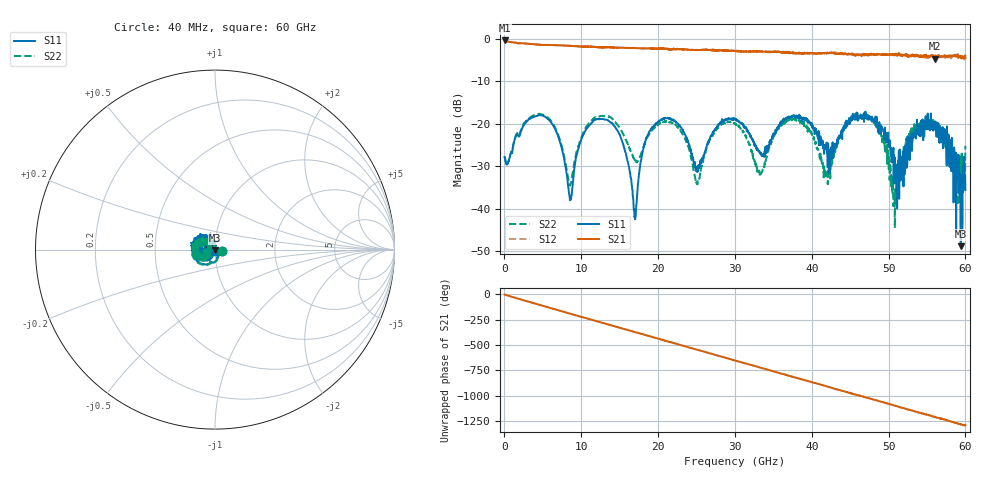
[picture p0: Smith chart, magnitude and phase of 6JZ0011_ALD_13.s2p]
! File created by 'SoftPlot +Plus+ Measurement Management Software'
! SoftPlot +Plus+ Measurement Management Software
! Start 40.000000 MHz  Stop 60.000000 GHz  Points 1601
# MHZ S RI R 50
! S-Parameter data, F S11 S21 S12 S22
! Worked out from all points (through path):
!   1601 points, 40 MHz to 60 GHz, reference 50 ohm
!   highest |S21| = -0.42 dB at 40 MHz (marker M1); lowest = -4.7 dB at 55.99 GHz (marker M2)
!   group delay of S21, straight-line fit = 59.8 ps
!   lowest |S11| = -48.8 dB at 59.4 GHz (marker M3), VSWR 1.01, Z = 50.1 - j0.342 ohm
!   |S11| at or under -10 dB: start of sweep to end of sweep
!   |S22| runs from -44.6 to -17.7 dB; largest |S21 - S12| = 0.053
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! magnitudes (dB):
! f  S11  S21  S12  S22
! 40 MHz  -27.9  -0.4  -0.4  -27.6
! 5.212 GHz  -18.3  -1.5  -1.5  -18.0
! 8.622 GHz  -37.8  -1.7  -1.7  -34.4
! 10.05 GHz  -23.5  -1.9  -1.8  -23.2
! 14.28 GHz  -20.5  -2.1  -2.0  -19.3
! 17.02 GHz  -42.5  -2.2  -2.2  -28.8
! 18.25 GHz  -25.0  -2.3  -2.3  -24.9
! 20.05 GHz  -19.5  -2.4  -2.3  -20.1
! 22.94 GHz  -20.7  -2.4  -2.5  -21.7
! 25.11 GHz  -31.4  -2.7  -2.7  -34.2
! 30.02 GHz  -18.8  -2.9  -2.8  -20.0
! 33.21 GHz  -26.4  -3.0  -3.0  -31.1
! 36.58 GHz  -19.0  -3.3  -3.3  -19.8
! 40.03 GHz  -19.9  -3.4  -3.5  -22.5
! 42.12 GHz  -24.6  -3.3  -3.4  -32.0
! 47.26 GHz  -18.2  -3.8  -4.0  -18.4
! 50.03 GHz  -25.5  -3.7  -3.7  -30.7
! 50.78 GHz  -28.1  -3.7  -3.8  -36.7
! 53.1 GHz  -24.1  -3.7  -4.1  -20.6
! 55.99 GHz  -20.4  -4.7  -3.9  -20.6
! 59.4 GHz  -48.8  -4.4  -4.4  -28.6
! 60 GHz  -35.6  -4.5  -4.1  -25.2
